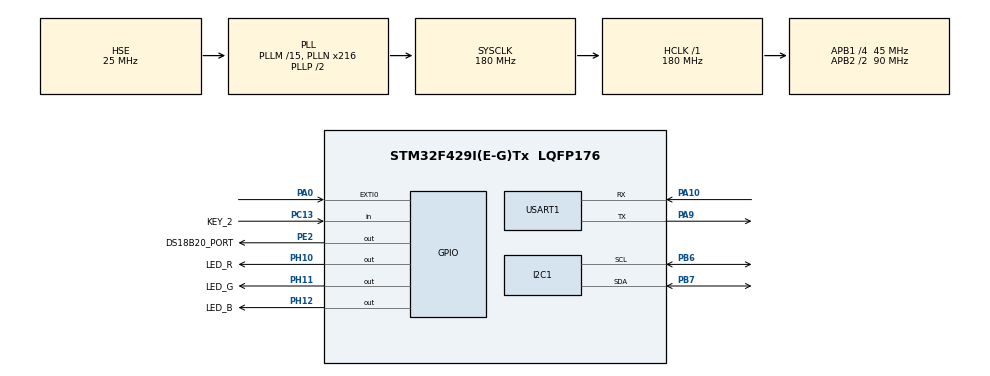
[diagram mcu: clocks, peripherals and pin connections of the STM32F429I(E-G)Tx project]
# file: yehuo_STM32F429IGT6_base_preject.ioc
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Dma.I2C1_RX.0.Direction=DMA_PERIPH_TO_MEMORY
Dma.I2C1_RX.0.FIFOMode=DMA_FIFOMODE_DISABLE
Dma.I2C1_RX.0.Instance=DMA1_Stream0
Dma.I2C1_RX.0.MemDataAlignment=DMA_MDATAALIGN_BYTE
Dma.I2C1_RX.0.MemInc=DMA_MINC_ENABLE
Dma.I2C1_RX.0.Mode=DMA_NORMAL
Dma.I2C1_RX.0.PeriphDataAlignment=DMA_PDATAALIGN_BYTE
Dma.I2C1_RX.0.PeriphInc=DMA_PINC_DISABLE
Dma.I2C1_RX.0.Priority=DMA_PRIORITY_LOW
Dma.I2C1_TX.1.Direction=DMA_MEMORY_TO_PERIPH
Dma.I2C1_TX.1.FIFOMode=DMA_FIFOMODE_DISABLE
Dma.I2C1_TX.1.Instance=DMA1_Stream6
Dma.I2C1_TX.1.MemDataAlignment=DMA_MDATAALIGN_BYTE
Dma.I2C1_TX.1.MemInc=DMA_MINC_ENABLE
Dma.I2C1_TX.1.Mode=DMA_NORMAL
Dma.I2C1_TX.1.PeriphDataAlignment=DMA_PDATAALIGN_BYTE
Dma.I2C1_TX.1.PeriphInc=DMA_PINC_DISABLE
Dma.I2C1_TX.1.Priority=DMA_PRIORITY_LOW
Dma.Request0=I2C1_RX
Dma.Request1=I2C1_TX
Dma.Request2=USART1_RX
Dma.Request3=USART1_TX
Dma.USART1_RX.2.Direction=DMA_PERIPH_TO_MEMORY
Dma.USART1_RX.2.FIFOMode=DMA_FIFOMODE_DISABLE
Dma.USART1_RX.2.Instance=DMA2_Stream2
Dma.USART1_RX.2.MemDataAlignment=DMA_MDATAALIGN_BYTE
Dma.USART1_RX.2.MemInc=DMA_MINC_ENABLE
Dma.USART1_RX.2.Mode=DMA_NORMAL
Dma.USART1_RX.2.PeriphDataAlignment=DMA_PDATAALIGN_BYTE
Dma.USART1_RX.2.PeriphInc=DMA_PINC_DISABLE
Dma.USART1_RX.2.Priority=DMA_PRIORITY_LOW
Dma.USART1_TX.3.Direction=DMA_MEMORY_TO_PERIPH
Dma.USART1_TX.3.FIFOMode=DMA_FIFOMODE_DISABLE
Dma.USART1_TX.3.Instance=DMA2_Stream7
Dma.USART1_TX.3.MemDataAlignment=DMA_MDATAALIGN_BYTE
Dma.USART1_TX.3.MemInc=DMA_MINC_ENABLE
Dma.USART1_TX.3.Mode=DMA_NORMAL
Dma.USART1_TX.3.PeriphDataAlignment=DMA_PDATAALIGN_BYTE
Dma.USART1_TX.3.PeriphInc=DMA_PINC_DISABLE
Dma.USART1_TX.3.Priority=DMA_PRIORITY_LOW
FREERTOS.Tasks01=defaultTask,24,128,StartDefaultTask,Default,NULL,Dynamic,NULL,NULL;myTask02,8,128,StartTask02,Default,NULL,Static,myTask02Buffer,myTask02ControlBlock
I2C1.I2C_Mode=I2C_Fast
Mcu.Family=STM32F4
Mcu.Name=STM32F429I(E-G)Tx
Mcu.Package=LQFP176
NVIC.DMA1_Stream0_IRQn=true\:5\:0\:false\:false\:true\:true\:false\:true\:true
NVIC.DMA1_Stream6_IRQn=true\:5\:0\:false\:false\:true\:true\:false\:true\:true
NVIC.DMA2_Stream2_IRQn=true\:5\:0\:false\:false\:true\:true\:false\:true\:true
NVIC.DMA2_Stream7_IRQn=true\:5\:0\:false\:false\:true\:true\:false\:true\:true
NVIC.EXTI0_IRQn=true\:12\:0\:true\:false\:true\:true\:true\:true\:true
NVIC.I2C1_ER_IRQn=true\:5\:0\:false\:false\:true\:true\:true\:true\:true
NVIC.I2C1_EV_IRQn=true\:5\:0\:false\:false\:true\:true\:true\:true\:true
NVIC.PriorityGroup=NVIC_PRIORITYGROUP_4
NVIC.TIM3_IRQn=true\:15\:0\:false\:false\:true\:false\:false\:true\:true
NVIC.TimeBase=TIM3_IRQn
NVIC.TimeBaseIP=TIM3
NVIC.USART1_IRQn=true\:5\:0\:false\:false\:true\:true\:true\:true\:true
PA0/WKUP.GPIO_ModeDefaultEXTI=GPIO_MODE_IT_RISING
PA0/WKUP.Signal=GPXTI0
PA10.Mode=Asynchronous
PA10.Signal=USART1_RX
PA13.Mode=Serial_Wire
PA13.Signal=SYS_JTMS-SWDIO
PA14.Mode=Serial_Wire
PA14.Signal=SYS_JTCK-SWCLK
PA9.Mode=Asynchronous
PA9.Signal=USART1_TX
PB6.Mode=I2C
PB6.Signal=I2C1_SCL
PB7.Mode=I2C
PB7.Signal=I2C1_SDA
PC13.GPIO_Label=KEY_2
PC13.GPIO_PuPd=GPIO_NOPULL
PC13.Signal=GPIO_Input
PE2.GPIO_Label=DS18B20_PORT
PE2.GPIO_PuPd=GPIO_PULLUP
PE2.Signal=GPIO_Output
PH0/OSC_IN.Mode=HSE-External-Oscillator
PH0/OSC_IN.Signal=RCC_OSC_IN
PH1/OSC_OUT.Mode=HSE-External-Oscillator
PH1/OSC_OUT.Signal=RCC_OSC_OUT
PH10.GPIO_Label=LED_R
PH10.PinState=GPIO_PIN_SET
PH10.Signal=GPIO_Output
PH11.GPIO_Label=LED_G
PH11.GPIO_Speed=GPIO_SPEED_FREQ_HIGH
PH11.PinState=GPIO_PIN_SET
PH11.Signal=GPIO_Output
PH12.GPIO_Label=LED_B
PH12.PinState=GPIO_PIN_RESET
PH12.Signal=GPIO_Output
ProjectManager.HeapSize=0x200
ProjectManager.StackSize=0x400
ProjectManager.TargetToolchain=CMake
RCC.48MHZClocksFreq_Value=90000000
RCC.AHBFreq_Value=180000000
RCC.APB1CLKDivider=RCC_HCLK_DIV4
RCC.APB1Freq_Value=45000000
RCC.APB1TimFreq_Value=90000000
RCC.APB2CLKDivider=RCC_HCLK_DIV2
RCC.APB2Freq_Value=90000000
RCC.APB2TimFreq_Value=180000000
RCC.CortexFreq_Value=180000000
RCC.HCLKFreq_Value=180000000
RCC.HSE_VALUE=25000000
RCC.HSI_VALUE=16000000
RCC.LSE_VALUE=32768
RCC.PLLM=15
RCC.PLLN=216
RCC.PLLSourceVirtual=RCC_PLLSOURCE_HSE
RCC.SYSCLKFreq_VALUE=180000000
RCC.SYSCLKSource=RCC_SYSCLKSOURCE_PLLCLK
RCC.VCOOutputFreq_Value=360000000
USART1.VirtualMode=VM_ASYNC
VP_FREERTOS_VS_CMSIS_V2.Mode=CMSIS_V2
VP_SYS_VS_tim3.Mode=TIM3
VP_TIM5_VS_ClockSourceITR.Mode=TriggerSource_ITR0
board=custom

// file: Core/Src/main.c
/* USER CODE BEGIN Header */
/**
 ******************************************************************************
 * @file           : main.c
 * @brief          : Main program body
 ******************************************************************************
 * @attention
 *
 * <h2><center>&copy; Copyright (c) 2021 STMicroelectronics.
 * All rights reserved.</center></h2>
 *
 * This software component is licensed by ST under BSD 3-Clause license,
 * the "License"; You may not use this file except in compliance with the
 * License. You may obtain a copy of the License at:
 *                        opensource.org/licenses/BSD-3-Clause
 *
 ******************************************************************************
 */
/* USER CODE END Header */
#include "main.h"
#include "cmsis_os.h"
#include "dma.h"
#include "gpio.h"
#include "i2c.h"
#include "tim.h"
#include "usart.h"

void SystemClock_Config(void);
void MX_FREERTOS_Init(void);

int main(void) {

  /* MCU Configuration--------------------------------------------------------*/

  /* Reset of all peripherals, Initializes the Flash interface and the Systick.
   */
  HAL_Init();

  /* Configure the system clock */
  SystemClock_Config();

  /* Initialize all configured peripherals */
  MX_GPIO_Init();
  MX_DMA_Init();
  MX_TIM5_Init();
  MX_I2C1_Init();
  MX_USART1_UART_Init();
  /* USER CODE BEGIN 2 */
  HAL_UARTEx_ReceiveToIdle_DMA(&huart1, uart3_rx_buffer,
                               sizeof(uart3_rx_buffer));
  __HAL_DMA_DISABLE_IT(huart1.hdmarx, DMA_IT_HT);

  /* USER CODE END 2 */

  /* Init scheduler */
  osKernelInitialize();

  /* Call init function for freertos objects (in cmsis_os2.c) */
  MX_FREERTOS_Init();

  /* Start scheduler */
  osKernelStart();

  /* We should never get here as control is now taken by the scheduler */

  /* Infinite loop */
  while (1) {

  }
}

void SystemClock_Config(void) {
  RCC_OscInitTypeDef RCC_OscInitStruct = {0};
  RCC_ClkInitTypeDef RCC_ClkInitStruct = {0};

  /** Configure the main internal regulator output voltage
   */
  __HAL_RCC_PWR_CLK_ENABLE();
  __HAL_PWR_VOLTAGESCALING_CONFIG(PWR_REGULATOR_VOLTAGE_SCALE1);

  /** Initializes the RCC Oscillators according to the specified parameters
   * in the RCC_OscInitTypeDef structure.
   */
  RCC_OscInitStruct.OscillatorType = RCC_OSCILLATORTYPE_HSE;
  RCC_OscInitStruct.HSEState = RCC_HSE_ON;
  RCC_OscInitStruct.PLL.PLLState = RCC_PLL_ON;
  RCC_OscInitStruct.PLL.PLLSource = RCC_PLLSOURCE_HSE;
  RCC_OscInitStruct.PLL.PLLM = 15;
  RCC_OscInitStruct.PLL.PLLN = 216;
  RCC_OscInitStruct.PLL.PLLP = RCC_PLLP_DIV2;
  RCC_OscInitStruct.PLL.PLLQ = 4;
  if (HAL_RCC_OscConfig(&RCC_OscInitStruct) != HAL_OK) {
    Error_Handler();
  }

  /** Activate the Over-Drive mode
   */
  if (HAL_PWREx_EnableOverDrive() != HAL_OK) {
    Error_Handler();
  }

  /** Initializes the CPU, AHB and APB buses clocks
   */
  RCC_ClkInitStruct.ClockType = RCC_CLOCKTYPE_HCLK | RCC_CLOCKTYPE_SYSCLK |
                                RCC_CLOCKTYPE_PCLK1 | RCC_CLOCKTYPE_PCLK2;
  RCC_ClkInitStruct.SYSCLKSource = RCC_SYSCLKSOURCE_PLLCLK;
  RCC_ClkInitStruct.AHBCLKDivider = RCC_SYSCLK_DIV1;
  RCC_ClkInitStruct.APB1CLKDivider = RCC_HCLK_DIV4;
  RCC_ClkInitStruct.APB2CLKDivider = RCC_HCLK_DIV2;

  if (HAL_RCC_ClockConfig(&RCC_ClkInitStruct, FLASH_LATENCY_5) != HAL_OK) {
    Error_Handler();
  }
}

void HAL_TIM_PeriodElapsedCallback(TIM_HandleTypeDef *htim) {
  if (htim->Instance == TIM3) {
    HAL_IncTick();
  }
}

void Error_Handler(void) {
  __disable_irq();
  while (1) {
  }
}

#ifdef USE_FULL_ASSERT
/**
 * @brief  Reports the name of the source file and the source line number
 *         where the assert_param error has occurred.
 * @param  file: pointer to the source file name
 * @param  line: assert_param error line source number
 * @retval None
 */
void assert_failed(uint8_t *file, uint32_t line) {
  /* USER CODE BEGIN 6 */
  /* User can add his own implementation to report the file name and line
     number, ex: printf("Wrong parameters value: file %s on line %d\r\n", file,
     line) */
  /* USER CODE END 6 */
}
#endif /* USE_FULL_ASSERT */

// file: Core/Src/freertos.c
/* USER CODE BEGIN Header */
/**
 ******************************************************************************
 * File Name          : freertos.c
 * Description        : Code for freertos applications
 ******************************************************************************
 * @attention
 *
 * Copyright (c) 2025 STMicroelectronics.
 * All rights reserved.
 *
 * This software is licensed under terms that can be found in the LICENSE file
 * in the root directory of this software component.
 * If no LICENSE file comes with this software, it is provided AS-IS.
 *
 ******************************************************************************
 */
/* USER CODE END Header */

#include "FreeRTOS.h"
#include "cmsis_os.h"
#include "main.h"
#include "task.h"

/* USER CODE BEGIN Includes */
#include "bsp_ds18b20.h"
#include "cds_gpio_exit.h"
#include "gpio.h"
#include "i2c.h"
#include "stdio.h"
#include "usart.h"

/* USER CODE END Includes */

typedef StaticTask_t osStaticThreadDef_t;

/* Definitions for defaultTask */
osThreadId_t defaultTaskHandle;
const osThreadAttr_t defaultTask_attributes = {
    .name = "defaultTask",
    .stack_size = 128 * 4,
    .priority = (osPriority_t)osPriorityNormal,
};
/* Definitions for myTask02 */
osThreadId_t myTask02Handle;
uint32_t myTask02Buffer[128];
osStaticThreadDef_t myTask02ControlBlock;
const osThreadAttr_t myTask02_attributes = {
    .name = "myTask02",
    .cb_mem = &myTask02ControlBlock,
    .cb_size = sizeof(myTask02ControlBlock),
    .stack_mem = &myTask02Buffer[0],
    .stack_size = sizeof(myTask02Buffer),
    .priority = (osPriority_t)osPriorityLow,
};

void StartDefaultTask(void *argument);
void StartTask02(void *argument);

void MX_FREERTOS_Init(void); /* (MISRA C 2004 rule 8.1) */

void MX_FREERTOS_Init(void) {

  /* Create the thread(s) */
  /* creation of defaultTask */
  defaultTaskHandle =
      osThreadNew(StartDefaultTask, NULL, &defaultTask_attributes);

  /* creation of myTask02 */
  myTask02Handle = osThreadNew(StartTask02, NULL, &myTask02_attributes);

}

void StartDefaultTask(void *argument) {
  /* USER CODE BEGIN StartDefaultTask */
  (void)argument; /* Prevent unused argument(s) compilation warning */
  /* Infinite loop */
  printf("Default Task Running\r\n");
  // Example of sending a string via UART
  uint8_t response[] = "Hello from Default Task!\r\n";
  HAL_UART_Transmit_DMA(&huart1, response, sizeof(response));

  if (DS18B20_Init() == 0) {
    printf("DS18B20 Init Success!\r\n");
  } else {
    printf("DS18B20 Init Failed!\r\n");
  }

  i2c_test();

  for (;;) {
    key2_toggle_green_led_pin();
    // test_uart_3();
    // uart3_recive_data();
    uint8_t uc, DS18B20Id[8];
    DS18B20_ReadId(DS18B20Id);
    printf("\r\nDS18B20 serial number is:0x");
    for (uc = 0; uc < 8; uc++) // 打印 DS18B20 的序列号
      printf("%.2x", DS18B20Id[uc]);
    float temperature = DS18B20_Get_Temp();
    printf("\nDS18B20 temperature is:%0.3f\n\n", temperature);
    HAL_Delay(2000); // Delay for 200 ms
  }
  /* USER CODE END StartDefaultTask */
}

void StartTask02(void *argument) {
  /* USER CODE BEGIN StartTask02 */
  (void)argument; /* Prevent unused argument(s) compilation warning */
  /* Infinite loop */
  for (;;) {
    osDelay(1);
  }
  /* USER CODE END StartTask02 */
}
